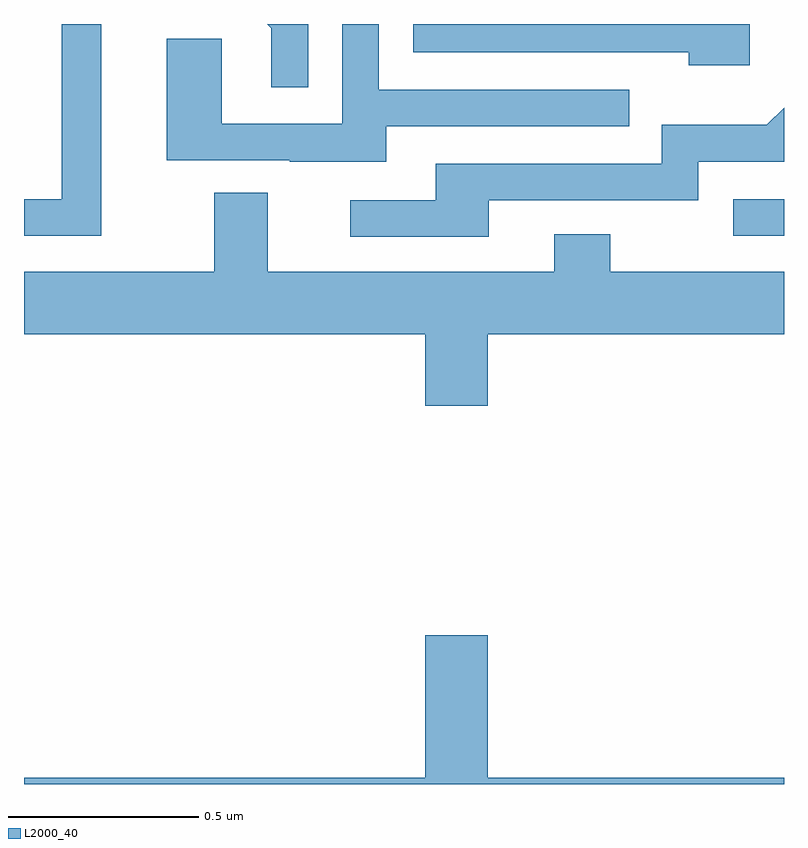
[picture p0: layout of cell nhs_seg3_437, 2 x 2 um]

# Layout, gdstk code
import gdstk
lib = gdstk.Library(unit=1e-6, precision=1e-09)
def R(c, l, rs):  # rectangles x0, y0, x1, y1
    for r in rs: c.add(gdstk.rectangle(r[:2], r[2:], *l))
def P(c, l, *ps):  # polygons
    for p in ps: c.add(gdstk.Polygon(p, *l))
L2000_40 = (2000, 40)

nhs_seg3_437 = lib.new_cell('nhs_seg3_437')
R(nhs_seg3_437, L2000_40, [(117.867,699.843,118,699.939)])
P(nhs_seg3_437, L2000_40, [(117.91,700.4),(117.024,700.4),(117.024,700.326),(117.749,700.326),(117.749,700.292),(117.91,700.292)],
  [(116.953,700.131),(117.593,700.131),(117.593,700.227),(116.934,700.227),(116.934,700.4),(116.838,700.4),(116.838,700.137),(116.52,700.137),(116.52,700.361),(116.375,700.361),(116.375,700.041),(116.699,700.041),(116.699,700.037),(116.953,700.037)],
  [(116.203,700.4),(116.099,700.4),(116.099,699.939),(116,699.939),(116,699.843),(116.203,699.843)],
  [(116.748,700.4),(116.64,700.4),(116.651,700.389),(116.651,700.233),(116.748,700.233)],
  [(117.223,699.936),(117.774,699.936),(117.774,700.038),(118,700.038),(118,700.18),(117.955,700.135),(117.678,700.135),(117.678,700.032),(117.083,700.032),(117.083,699.936),(116.859,699.936),(116.859,699.84),(117.223,699.84)],
  [(117.22,699.584),(118,699.584),(118,699.748),(117.543,699.748),(117.543,699.847),(117.395,699.847),(117.395,699.748),(116.641,699.748),(116.641,699.956),(116.501,699.956),(116.501,699.748),(116,699.748),(116,699.584),(117.056,699.584),(117.056,699.396),(117.22,699.396)],
  [(118,698.416),(117.22,698.416),(117.22,698.791),(117.056,698.791),(117.056,698.416),(116,698.416),(116,698.4),(118,698.4)])

lib.write_gds('nhs_seg3_437.gds')
